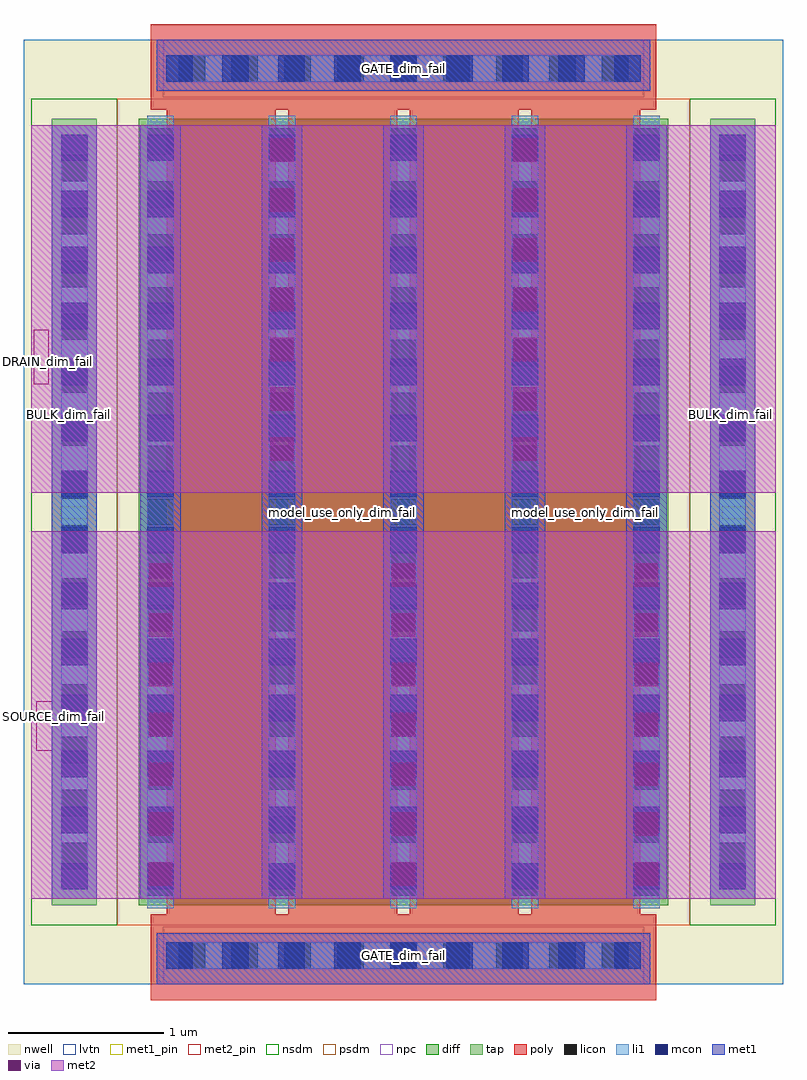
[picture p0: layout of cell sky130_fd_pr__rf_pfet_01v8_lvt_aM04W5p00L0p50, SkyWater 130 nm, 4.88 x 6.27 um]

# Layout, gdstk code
import gdstk
lib = gdstk.Library(unit=1e-6, precision=1e-09)
def R(c, l, rs):  # rectangles x0, y0, x1, y1
    for r in rs: c.add(gdstk.rectangle(r[:2], r[2:], *l))
def A(c, l, x, y, w, h, nx, ny, dx, dy):  # array of equal rectangles
    R(c, l, [(x+i*dx, y+j*dy, x+i*dx+w, y+j*dy+h) for i in range(nx) for j in range(ny)])
def P(c, l, *ps):  # polygons
    for p in ps: c.add(gdstk.Polygon(p, *l))
nwell = (64, 20)
diff = (65, 20)
tap = (65, 44)
poly = (66, 20)
licon = (66, 44)
li1 = (67, 20)
mcon = (67, 44)
met1_pin = (68, 16)
met1 = (68, 20)
via = (68, 44)
met2_pin = (69, 16)
met2 = (69, 20)
nsdm = (93, 44)
psdm = (94, 20)
npc = (95, 20)
lvtn = (125, 44)

sky130_fd_pr__rf_pfet_01 = lib.new_cell('sky130_fd_pr__rf_pfet_01v8_lvt_aM04W5p00L0p50')
R(sky130_fd_pr__rf_pfet_01, nwell, [(0,0,4.88,6.07)])
R(sky130_fd_pr__rf_pfet_01, diff, [(0.74,0.51,4.14,5.56)])
R(sky130_fd_pr__rf_pfet_01, tap, [(0.18,0.51,0.47,5.56), (4.41,0.51,4.7,5.56)])
P(sky130_fd_pr__rf_pfet_01, poly, [(0.815,-0.1),(0.815,0.45),(0.92,0.45),(0.92,5.62),(1.62,5.62),(1.62,0.45),(1.7,0.45),(1.7,5.62),(2.4,5.62),(2.4,0.45),(2.48,0.45),(2.48,5.62),(3.18,5.62),(3.18,0.45),(3.26,0.45),(3.26,5.62),(0.815,5.62),(0.815,6.17),(4.065,6.17),(4.065,5.62),(3.96,5.62),(3.96,0.45),(4.065,0.45),(4.065,-0.1)])
A(sky130_fd_pr__rf_pfet_01, licon, 0.995, 0.1, 0.17, 0.17, 9, 2, 0.34, 5.7)
A(sky130_fd_pr__rf_pfet_01, licon, 0.795, 0.57, 0.17, 0.17, 5, 15, 0.78, 0.34)
A(sky130_fd_pr__rf_pfet_01, licon, 0.24, 0.74, 0.17, 0.17, 1, 14, 0, 0.34)
A(sky130_fd_pr__rf_pfet_01, licon, 4.47, 0.74, 0.17, 0.17, 1, 14, 0, 0.34)
A(sky130_fd_pr__rf_pfet_01, li1, 0.795, 0.49, 0.17, 5.09, 5, 1, 0.78, 0)
A(sky130_fd_pr__rf_pfet_01, li1, 0.795, 1.69, 0.17, 2.69, 5, 1, 0.78, 0)
R(sky130_fd_pr__rf_pfet_01, li1, [(0.915,0.1,3.965,0.27), (0.24,0.61,0.41,5.46), (4.47,0.61,4.64,5.46), (0.24,0.66,0.41,5.41), (4.47,0.66,4.64,5.41), (0.24,1.68,0.41,4.39), (4.47,1.68,4.64,4.39), (0.915,5.8,3.965,5.97)])
A(sky130_fd_pr__rf_pfet_01, mcon, 0.915, 0.1, 0.17, 0.17, 9, 2, 0.36, 5.7)
A(sky130_fd_pr__rf_pfet_01, mcon, 0.24, 0.61, 0.17, 0.17, 1, 14, 0, 0.36)
A(sky130_fd_pr__rf_pfet_01, mcon, 0.795, 0.61, 0.17, 0.17, 5, 14, 0.78, 0.36)
A(sky130_fd_pr__rf_pfet_01, mcon, 4.47, 0.61, 0.17, 0.17, 1, 14, 0, 0.36)
R(sky130_fd_pr__rf_pfet_01, met1_pin, [(0.855,0,4.025,0.33), (0.235,2.99,0.405,3.07), (4.485,2.99,4.655,3.07), (0.855,5.74,4.025,6.07)])
A(sky130_fd_pr__rf_pfet_01, met1, 0.75, 0.55, 0.26, 2.24, 3, 1, 1.56, 0)
A(sky130_fd_pr__rf_pfet_01, met1, 0.75, 0.55, 0.26, 4.97, 5, 1, 0.78, 0)
R(sky130_fd_pr__rf_pfet_01, met1, [(0.855,0,4.025,0.33), (0.18,0.55,0.47,5.52), (4.41,0.55,4.7,5.52), (1.53,3.28,1.79,5.52), (3.09,3.28,3.35,5.52), (0.855,5.74,4.025,6.07)])
A(sky130_fd_pr__rf_pfet_01, via, 0.805, 0.635, 0.15, 0.15, 3, 7, 1.56, 0.32)
A(sky130_fd_pr__rf_pfet_01, via, 1.585, 3.365, 0.15, 0.15, 1, 7, 0, 0.32)
A(sky130_fd_pr__rf_pfet_01, via, 3.145, 3.365, 0.15, 0.15, 1, 7, 0, 0.32)
R(sky130_fd_pr__rf_pfet_01, met2_pin, [(0.08,1.5,0.185,1.82), (0.065,3.855,0.16,4.205)])
A(sky130_fd_pr__rf_pfet_01, met2, 0.75, 0.55, 0.26, 2.24, 3, 1, 1.56, 0)
R(sky130_fd_pr__rf_pfet_01, met2, [(0.05,0.55,4.83,2.91), (0.05,3.16,4.83,5.52), (1.53,3.28,1.79,5.52), (3.09,3.28,3.35,5.52)])
R(sky130_fd_pr__rf_pfet_01, nsdm, [(0.05,0.38,0.6,5.69), (4.28,0.38,4.83,5.69)])
R(sky130_fd_pr__rf_pfet_01, psdm, [(0.6,0.38,4.28,5.69)])
R(sky130_fd_pr__rf_pfet_01, npc, [(0.895,0,3.985,0.37), (0.895,5.7,3.985,6.07)])
R(sky130_fd_pr__rf_pfet_01, lvtn, [(0,0,4.88,6.07)])
sky130_fd_pr__rf_pfet_01.add(gdstk.Label('model_use_only_dim_fail', (2.05,3.03), layer=66, texttype=83))
sky130_fd_pr__rf_pfet_01.add(gdstk.Label('model_use_only_dim_fail', (1.27,3.03), layer=66, texttype=83))
sky130_fd_pr__rf_pfet_01.add(gdstk.Label('model_use_only_dim_fail', (2.83,3.03), layer=66, texttype=83))
sky130_fd_pr__rf_pfet_01.add(gdstk.Label('model_use_only_dim_fail', (3.61,3.03), layer=66, texttype=83))
sky130_fd_pr__rf_pfet_01.add(gdstk.Label('DRAIN_dim_fail', (0.145,4), layer=69, texttype=5))
sky130_fd_pr__rf_pfet_01.add(gdstk.Label('SOURCE_dim_fail', (0.185,1.72), layer=69, texttype=5))
sky130_fd_pr__rf_pfet_01.add(gdstk.Label('BULK_dim_fail', (0.29,3.66), layer=68, texttype=5))
sky130_fd_pr__rf_pfet_01.add(gdstk.Label('BULK_dim_fail', (4.54,3.66), layer=68, texttype=5))
sky130_fd_pr__rf_pfet_01.add(gdstk.Label('GATE_dim_fail', (2.44,5.885), layer=68, texttype=5))
sky130_fd_pr__rf_pfet_01.add(gdstk.Label('GATE_dim_fail', (2.44,0.185), layer=68, texttype=5))

lib.write_gds('sky130_fd_pr__rf_pfet_01v8_lvt_aM04W5p00L0p50.gds')
